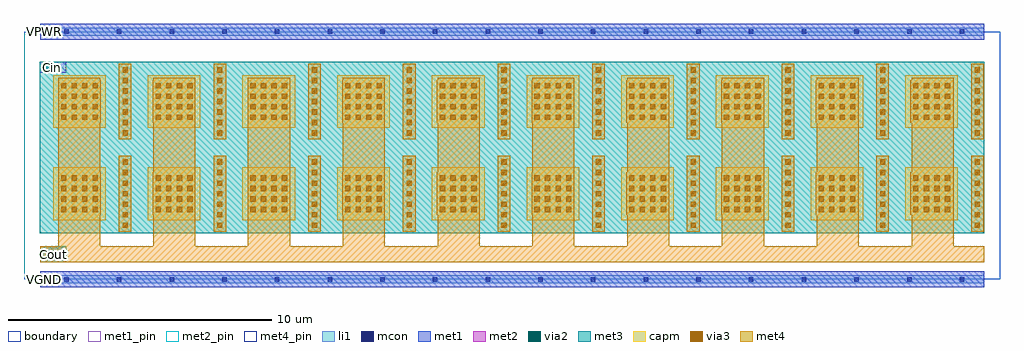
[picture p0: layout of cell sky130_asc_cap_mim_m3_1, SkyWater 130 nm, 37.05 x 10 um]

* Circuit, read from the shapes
.subckt sky130_asc_cap_mim_m3_1 Cin Cout VGND VPWR
XC1 Cout Cin sky130_fd_pr__cap_mim_m3_1 w=2 l=2 m=20
.ends

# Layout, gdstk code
import gdstk
lib = gdstk.Library(unit=1e-6, precision=1e-09)
def R(c, l, rs):  # rectangles x0, y0, x1, y1
    for r in rs: c.add(gdstk.rectangle(r[:2], r[2:], *l))
def A(c, l, x, y, w, h, nx, ny, dx, dy):  # array of equal rectangles
    R(c, l, [(x+i*dx, y+j*dy, x+i*dx+w, y+j*dy+h) for i in range(nx) for j in range(ny)])
li1 = (67, 20)
mcon = (67, 44)
met1_pin = (68, 16)
met1 = (68, 20)
met2_pin = (69, 16)
met2 = (69, 20)
via2 = (69, 44)
met3 = (70, 20)
via3 = (70, 44)
met4_pin = (71, 16)
met4 = (71, 20)
capm = (89, 44)
boundary = (235, 4)

sky130_asc_cap_mim_m3_1 = lib.new_cell('sky130_asc_cap_mim_m3_1')
R(sky130_asc_cap_mim_m3_1, li1, [(0.61,-0.15,36.45,0.15), (0.61,9.25,36.45,9.55)])
A(sky130_asc_cap_mim_m3_1, mcon, 1.525, -0.085, 0.17, 0.17, 18, 2, 2, 9.4)
R(sky130_asc_cap_mim_m3_1, met1_pin, [(0.61,-0.15,0.91,0.15), (0.61,9.25,0.91,9.55)])
R(sky130_asc_cap_mim_m3_1, met1, [(0.61,-0.3,36.45,0.3), (0.61,9.1,36.45,9.7)])
R(sky130_asc_cap_mim_m3_1, met2_pin, [(0.6,7.85,1.6,8.25)])
R(sky130_asc_cap_mim_m3_1, met2, [(0.71,0.7,1.51,1.2), (0.6,7.85,1.6,8.25)])
R(sky130_asc_cap_mim_m3_1, via2, [(1.01,0.85,1.21,1.05), (0.8,7.95,1,8.15), (1.2,7.95,1.4,8.15)])
R(sky130_asc_cap_mim_m3_1, met3, [(0.61,0.65,1.61,1.25), (0.6,1.75,36.46,8.25)])
A(sky130_asc_cap_mim_m3_1, via3, 3.74, 1.95, 0.2, 0.2, 10, 7, 3.595, 0.4)
A(sky130_asc_cap_mim_m3_1, via3, 1.405, 2.55, 0.2, 0.2, 4, 4, 0.4, 0.4)
A(sky130_asc_cap_mim_m3_1, via3, 5, 2.55, 0.2, 0.2, 4, 4, 0.4, 0.4)
A(sky130_asc_cap_mim_m3_1, via3, 8.595, 2.55, 0.2, 0.2, 4, 4, 0.4, 0.4)
A(sky130_asc_cap_mim_m3_1, via3, 12.19, 2.55, 0.2, 0.2, 4, 4, 0.4, 0.4)
A(sky130_asc_cap_mim_m3_1, via3, 15.785, 2.55, 0.2, 0.2, 4, 4, 0.4, 0.4)
A(sky130_asc_cap_mim_m3_1, via3, 19.38, 2.55, 0.2, 0.2, 4, 4, 0.4, 0.4)
A(sky130_asc_cap_mim_m3_1, via3, 22.975, 2.55, 0.2, 0.2, 4, 4, 0.4, 0.4)
A(sky130_asc_cap_mim_m3_1, via3, 26.57, 2.55, 0.2, 0.2, 4, 4, 0.4, 0.4)
A(sky130_asc_cap_mim_m3_1, via3, 30.165, 2.55, 0.2, 0.2, 4, 4, 0.4, 0.4)
A(sky130_asc_cap_mim_m3_1, via3, 33.76, 2.55, 0.2, 0.2, 4, 4, 0.4, 0.4)
A(sky130_asc_cap_mim_m3_1, via3, 3.74, 5.45, 0.2, 0.2, 10, 7, 3.595, 0.4)
A(sky130_asc_cap_mim_m3_1, via3, 1.405, 6.05, 0.2, 0.2, 4, 4, 0.4, 0.4)
A(sky130_asc_cap_mim_m3_1, via3, 5, 6.05, 0.2, 0.2, 4, 4, 0.4, 0.4)
A(sky130_asc_cap_mim_m3_1, via3, 8.595, 6.05, 0.2, 0.2, 4, 4, 0.4, 0.4)
A(sky130_asc_cap_mim_m3_1, via3, 12.19, 6.05, 0.2, 0.2, 4, 4, 0.4, 0.4)
A(sky130_asc_cap_mim_m3_1, via3, 15.785, 6.05, 0.2, 0.2, 4, 4, 0.4, 0.4)
A(sky130_asc_cap_mim_m3_1, via3, 19.38, 6.05, 0.2, 0.2, 4, 4, 0.4, 0.4)
A(sky130_asc_cap_mim_m3_1, via3, 22.975, 6.05, 0.2, 0.2, 4, 4, 0.4, 0.4)
A(sky130_asc_cap_mim_m3_1, via3, 26.57, 6.05, 0.2, 0.2, 4, 4, 0.4, 0.4)
A(sky130_asc_cap_mim_m3_1, via3, 30.165, 6.05, 0.2, 0.2, 4, 4, 0.4, 0.4)
A(sky130_asc_cap_mim_m3_1, via3, 33.76, 6.05, 0.2, 0.2, 4, 4, 0.4, 0.4)
R(sky130_asc_cap_mim_m3_1, via3, [(0.81,0.85,1.01,1.05), (1.21,0.85,1.41,1.05)])
R(sky130_asc_cap_mim_m3_1, met4_pin, [(0.71,0.7,1.51,1.2)])
A(sky130_asc_cap_mim_m3_1, met4, 1.3, 1.25, 1.6, 1.195, 10, 1, 3.6, 0)
A(sky130_asc_cap_mim_m3_1, met4, 3.6, 1.81, 0.48, 2.88, 10, 2, 3.595, 3.5)
A(sky130_asc_cap_mim_m3_1, met4, 1.3, 2.445, 1.61, 1.61, 3, 2, 3.595, 3.5)
A(sky130_asc_cap_mim_m3_1, met4, 1.3, 4.055, 1.6, 1.89, 10, 1, 3.6, 0)
A(sky130_asc_cap_mim_m3_1, met4, 1.3, 7.555, 1.6, 0.095, 10, 1, 3.6, 0)
R(sky130_asc_cap_mim_m3_1, met4, [(0.61,0.65,36.45,1.25), (12.085,2.445,13.7,4.055), (15.68,2.445,17.3,4.055), (19.275,2.445,20.9,4.055), (22.87,2.445,24.5,4.055), (26.465,2.445,28.1,4.055), (30.06,2.445,31.7,4.055), (33.655,2.445,35.3,4.055), (12.085,5.945,13.7,7.555), (15.68,5.945,17.3,7.555), (19.275,5.945,20.9,7.555), (22.87,5.945,24.5,7.555), (26.465,5.945,28.1,7.555), (30.06,5.945,31.7,7.555), (33.655,5.945,35.3,7.555)])
A(sky130_asc_cap_mim_m3_1, capm, 1.105, 2.25, 2, 2, 10, 2, 3.595, 3.5)
R(sky130_asc_cap_mim_m3_1, boundary, [(0,0,37.055,9.4)])
sky130_asc_cap_mim_m3_1.add(gdstk.Label('Cin', (1.1,8.05), layer=69, texttype=16))
sky130_asc_cap_mim_m3_1.add(gdstk.Label('Cout', (1.11,0.95), layer=71, texttype=16))
sky130_asc_cap_mim_m3_1.add(gdstk.Label('VPWR', (0.76,9.4), layer=68, texttype=16))
sky130_asc_cap_mim_m3_1.add(gdstk.Label('VGND', (0.76,0), layer=68, texttype=16))

lib.write_gds('sky130_asc_cap_mim_m3_1.gds')
